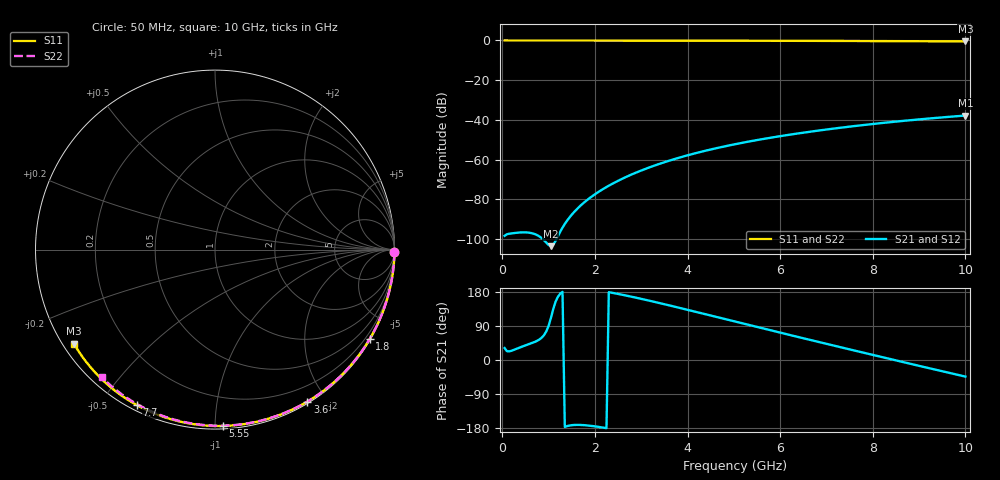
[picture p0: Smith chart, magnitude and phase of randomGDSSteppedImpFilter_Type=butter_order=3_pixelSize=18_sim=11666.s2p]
! freq	dB(S11)	phase(S11)	dB(S12)	phase(S12)
!  dB(S21)	phase(S21)	dB(S22)	phase(S22)
!S-par simulation data
#  GHz  S  DB  R 50
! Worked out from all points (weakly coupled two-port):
!   200 points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, 50 MHz to 10 GHz, reference 50 ohm
!   highest |S21| = -37.83 dB at 10 GHz (marker M1); lowest = -103.6 dB at 1.05 GHz (marker M2)
!   lowest |S11| = -0.5 dB at 10 GHz (marker M3), VSWR 35.08, Z = 1.56 - j15.1 ohm
!   |S11| at or under -10 dB: nowhere
!   |S22| runs from -0.4 to 0.0 dB; largest |S21 - S12| = 0
!   S11 on the Smith chart (normalised r, x): 50 MHz: open; 1.8 GHz: 0.03, -3.71; 3.6 GHz: 0.02, -1.78; 5.55 GHz: 0.02, -1.04; 7.7 GHz: 0.02, -0.62; 10 GHz: 0.03, -0.30
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0.05  -0.00 -0.9  -98.41 31.5  -98.41 31.5  -0.00 -0.8
0.55  -0.01 -9.3  -96.77 40.7  -96.77 40.7  -0.01 -8.3
1.05  -0.02 -17.7  -103.64 110.9  -103.64 110.9  -0.02 -15.8
1.75  -0.04 -29.3  -81.96 -171.8  -81.96 -171.8  -0.03 -26.2
1.8  -0.04 -30.1  -80.98 -172.3  -80.98 -172.3  -0.03 -26.9
1.85  -0.04 -31.0  -80.06 -172.9  -80.06 -172.9  -0.04 -27.7
2.05  -0.04 -34.2  -76.71 -176.0  -76.71 -176.0  -0.04 -30.6
2.2  -0.05 -36.6  -74.52 -178.9  -74.52 -178.9  -0.04 -32.8
2.4  -0.05 -39.9  -71.90 176.7  -71.90 176.7  -0.05 -35.7
2.6  -0.06 -43.1  -69.56 171.9  -69.56 171.9  -0.05 -38.6
3  -0.06 -49.4  -65.52 161.4  -65.52 161.4  -0.06 -44.3
3.4  -0.07 -55.7  -62.11 150.1  -62.11 150.1  -0.07 -49.9
3.6  -0.08 -58.8  -60.60 144.3  -60.60 144.3  -0.07 -52.7
4.3  -0.10 -69.4  -56.05 123.4  -56.05 123.4  -0.09 -62.3
5.05  -0.12 -80.3  -52.16 100.7  -52.16 100.7  -0.11 -72.2
5.55  -0.14 -87.5  -49.97 85.7  -49.97 85.7  -0.13 -78.7
6.1  -0.17 -95.1  -47.85 69.2  -47.85 69.2  -0.15 -85.7
6.7  -0.20 -103.3  -45.80 51.5  -45.80 51.5  -0.18 -93.1
7.7  -0.27 -116.6  -42.87 22.2  -42.87 22.2  -0.24 -105.1
8.35  -0.32 -125.1  -41.22 3.3  -41.22 3.3  -0.29 -112.7
9.2  -0.40 -136.0  -39.35 -21.2  -39.35 -21.2  -0.36 -122.4
10  -0.50 -146.3  -37.83 -43.8  -37.83 -43.8  -0.44 -131.5
